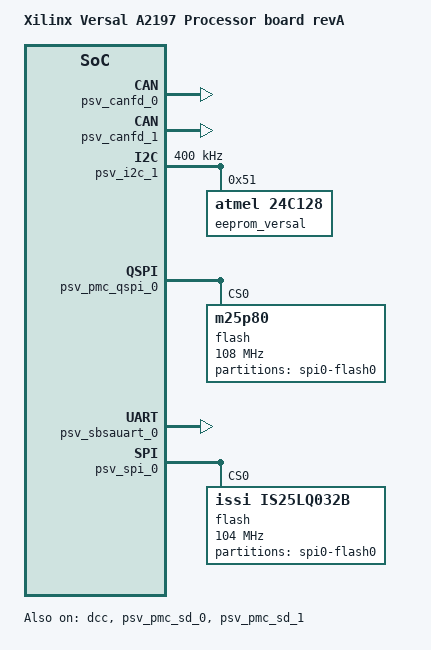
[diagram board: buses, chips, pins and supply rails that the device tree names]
// SPDX-License-Identifier: GPL-2.0
/*
 * dts file for Xilinx Versal X-PRC-03 revA (SE3)
 *
 * (C) Copyright 2019, Xilinx, Inc.
 *
 * Michal Simek <michal.simek@xilinx.com>
 */

/ {
        compatible = "xlnx,versal-vc-p-a2197-00-revA",
                     "xlnx,versal-vc-p-a2197-00",
                     "xlnx,versal-vc-p-a2197", "xlnx,versal";
        model = "Xilinx Versal A2197 Processor board revA";
	
	chosen {
		bootargs = "console=ttyAMA0 earlycon=pl011,mmio32,0xFF000000,115200n8 clk_ignore_unused";
		stdout-path = "serial0:115200";
	};
	
	aliases {
		can0 = &psv_canfd_0;
		can1 = &psv_canfd_1;
		i2c0 = &psv_i2c_1;
		mmc0 = &psv_pmc_sd_0;
		mmc1 = &psv_pmc_sd_1;
		serial0 = &psv_sbsauart_0;
		spi0 = &psv_pmc_qspi_0;
		spi1 = &psv_spi_0;
	};
};

&dcc {
        status = "okay";
};

/* SMAP via cc108 */
&psv_canfd_0 {
	status = "okay";
};

&psv_canfd_1 {
	status = "okay";
};

&psv_i2c_1 {
	status = "okay";
	clock-frequency = <400000>;
	/* Must be enabled via J90/J91 */
	eeprom_versal: eeprom@51 { /* U2 - 128kb RM24C128DS */
		compatible = "atmel,24c128";
		reg = <0x51>;
	};
};

&psv_pmc_qspi_0 {
	status = "okay"; /* u7 */
	num-cs = <0x1>;
	is-dual = <0x1>;
	spi-rx-bus-width = <4>;
	spi-tx-bus-width = <1>;

	flash@0 {
		#address-cells = <1>;
		#size-cells = <1>;
		compatible = "m25p80", "spi-flash"; /* 64Mb */
		reg = <0>;
		spi-tx-bus-width = <1>;
		spi-rx-bus-width = <4>;
		spi-max-frequency = <108000000>;
		partition@0 {
			label = "spi0-flash0";
			reg = <0x0 0x800000>;
		};
	};
};

&psv_sbsauart_0 {
	status = "okay";
};

&psv_pmc_sd_0 { /* J99 MIO28 - MIO33 */
	status = "okay";
	xlnx,mio_bank = <1>; /* FIXME */
};

&psv_pmc_sd_1 { /* EMMC IS21ES08G 200MHz MIO40 - MIO49 */
	status = "okay";
	non-removable;
	disable-wp;
	bus-width = <8>;
	xlnx,mio_bank = <0>; /* FIXME */
};

&psv_spi_0 {
	status = "okay";
	num-cs = <1>;

	flash@0 { /* U6 - IS25LQ032B - 16Mb */
		#address-cells = <1>;
		#size-cells = <1>;
		compatible = "issi,is25lq032b", "m25p80", "spi-flash";
		spi-max-frequency = <104000000>;
		reg = <0>;

		partition@0 {
			label = "spi0-flash0";
			reg = <0 0x200000>;
		};
	};
};
